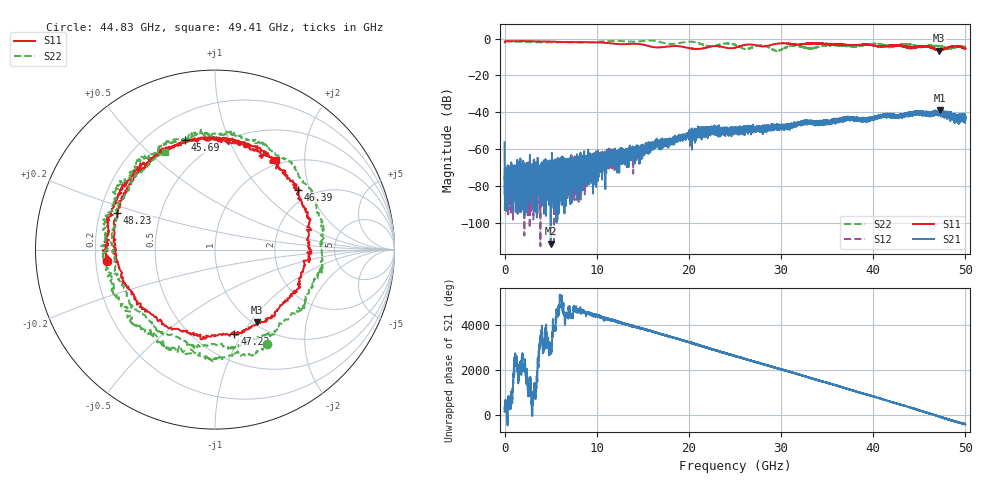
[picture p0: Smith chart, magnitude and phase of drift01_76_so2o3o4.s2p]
!Created with skrf (http://scikit-rf.org).
# Hz S RI R 50.0
!freq ReS11 ImS11 ReS21 ImS21 ReS12 ImS12 ReS22 ImS22
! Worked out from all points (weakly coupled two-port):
!   10001 points, 300 kHz to 50 GHz, reference 50 ohm
!   highest |S21| = -38.87 dB at 47.28 GHz (marker M1); lowest = -111.2 dB at 5.005 GHz (marker M2)
!   lowest |S11| = -6.6 dB at 47.1 GHz (marker M3), VSWR 2.77, Z = 52 - j54.2 ohm
!   |S11| at or under -10 dB: nowhere
!   |S22| runs from -6.8 to -1.0 dB; largest |S21 - S12| = 0.0039
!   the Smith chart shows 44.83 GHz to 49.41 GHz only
!   S11 on the Smith chart (normalised r, x): 44.83 GHz: 0.25, -0.05; 45.69 GHz: 0.35, +0.70; 46.39 GHz: 1.70, +1.66; 47.22 GHz: 0.75, -0.93; 48.23 GHz: 0.27, +0.17; 49.41 GHz: 0.92, +1.46
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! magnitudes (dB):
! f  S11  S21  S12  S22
! 300 kHz  -2.0  -56.3  -76.6  -1.3
! 310.3 MHz  -1.4  -80.3  -84.4  -1.3
! 5.005 GHz  -1.6  -111.2  -84.7  -2.1
! 8.335 GHz  -1.9  -71.9  -69.8  -2.1
! 16.67 GHz  -4.8  -55.6  -56.9  -1.6
! 21.67 GHz  -5.2  -50.8  -49.6  -3.5
! 25 GHz  -5.0  -50.9  -51.6  -3.4
! 26.19 GHz  -3.4  -50.0  -48.1  -5.7
! 28.08 GHz  -4.2  -48.1  -48.8  -3.9
! 29.55 GHz  -2.8  -47.6  -48.3  -6.7
! 31.27 GHz  -3.0  -47.1  -46.0  -4.0
! 33.34 GHz  -2.6  -45.9  -44.9  -5.3
! 41.67 GHz  -3.9  -41.1  -41.4  -4.4
! 44.83 GHz  -4.3  -40.0  -40.4  -4.4
! 45.69 GHz  -4.0  -40.3  -40.8  -4.1
! 46.39 GHz  -4.9  -41.4  -40.5  -3.7
! 47.1 GHz  -6.6  -42.0  -41.3  -4.1
! 47.22 GHz  -6.3  -40.0  -40.1  -4.0
! 47.28 GHz  -6.5  -38.9  -40.0  -4.3
! 48.23 GHz  -4.7  -41.4  -42.8  -5.2
! 49.41 GHz  -4.4  -45.6  -44.2  -4.3
! 50 GHz  -5.4  -42.4  -41.8  -4.2
